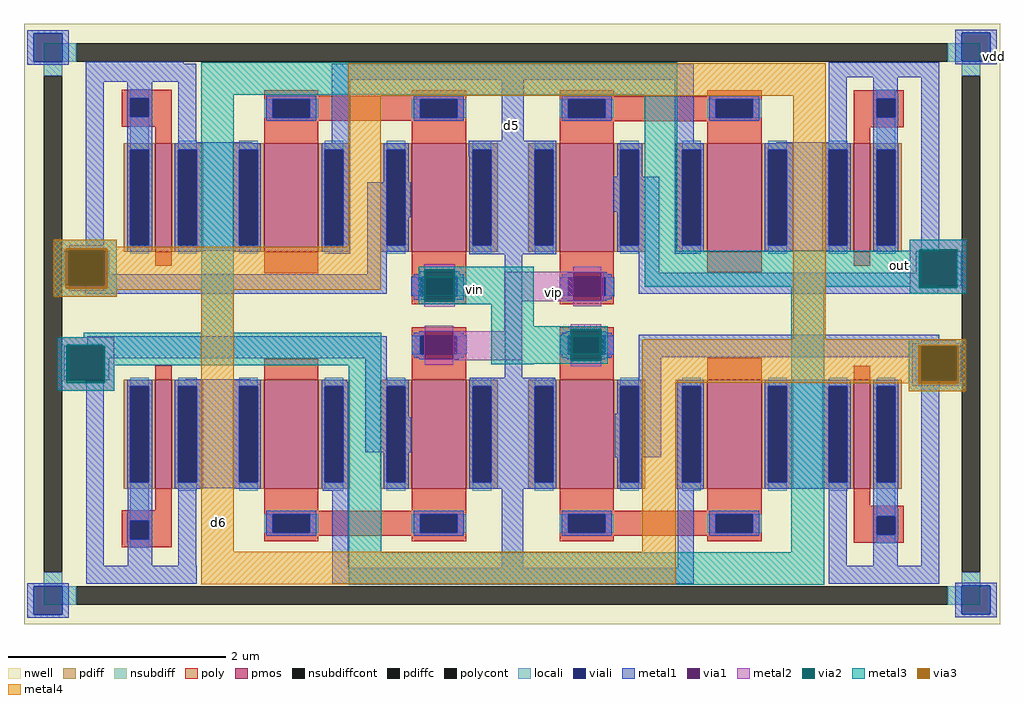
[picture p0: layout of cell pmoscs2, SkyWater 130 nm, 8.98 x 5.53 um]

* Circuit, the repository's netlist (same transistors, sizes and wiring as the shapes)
* NGSPICE file created from pmoscs2.ext - technology: sky130A

.subckt pmoscs2 vdd vip vin d5 d6 out
X0 d5 vin d6 vdd sky130_fd_pr__pfet_01v8 ad=0.29 pd=2.58 as=0.29 ps=2.58 w=1 l=0.5
X1 out out out vdd sky130_fd_pr__pfet_01v8 ad=0.29 pd=2.58 as=0 ps=0 w=1 l=0.15
X2 out out out vdd sky130_fd_pr__pfet_01v8 ad=0.29 pd=2.58 as=0 ps=0 w=1 l=0.15
X3 d6 d6 d6 vdd sky130_fd_pr__pfet_01v8 ad=0.29 pd=2.58 as=0 ps=0 w=1 l=0.15
X4 d5 vip out vdd sky130_fd_pr__pfet_01v8 ad=0.29 pd=2.58 as=0.29 ps=2.58 w=1 l=0.5
X5 d5 vip out vdd sky130_fd_pr__pfet_01v8 ad=0.29 pd=2.58 as=0.29 ps=2.58 w=1 l=0.5
X6 d6 d6 d6 vdd sky130_fd_pr__pfet_01v8 ad=0.29 pd=2.58 as=0 ps=0 w=1 l=0.15
X7 d6 vin d5 vdd sky130_fd_pr__pfet_01v8 ad=0.29 pd=2.58 as=0.29 ps=2.58 w=1 l=0.5
X8 d6 vin d5 vdd sky130_fd_pr__pfet_01v8 ad=0.29 pd=2.58 as=0.29 ps=2.58 w=1 l=0.5
X9 out vip d5 vdd sky130_fd_pr__pfet_01v8 ad=0.29 pd=2.58 as=0.29 ps=2.58 w=1 l=0.5
X10 out vip d5 vdd sky130_fd_pr__pfet_01v8 ad=0.29 pd=2.58 as=0.29 ps=2.58 w=1 l=0.5
X11 d5 vin d6 vdd sky130_fd_pr__pfet_01v8 ad=0.29 pd=2.58 as=0.29 ps=2.58 w=1 l=0.5
.ends

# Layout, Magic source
magic
tech sky130A
magscale 1 2
<< nwell >>
rect 2785 535 4582 1641
<< pmos >>
rect 3027 1221 3057 1421
rect 3227 1221 3327 1421
rect 3499 1221 3599 1421
rect 3771 1221 3871 1421
rect 4043 1221 4143 1421
rect 4313 1221 4343 1421
rect 3027 785 3057 985
rect 3227 785 3327 985
rect 3499 785 3599 985
rect 3771 785 3871 985
rect 4043 785 4143 985
rect 4313 785 4343 985
<< pdiff >>
rect 2969 1409 3027 1421
rect 2969 1233 2981 1409
rect 3015 1233 3027 1409
rect 2969 1221 3027 1233
rect 3057 1409 3115 1421
rect 3057 1233 3069 1409
rect 3103 1233 3115 1409
rect 3057 1221 3115 1233
rect 3169 1409 3227 1421
rect 3169 1233 3181 1409
rect 3215 1233 3227 1409
rect 3169 1221 3227 1233
rect 3327 1409 3385 1421
rect 3327 1233 3339 1409
rect 3373 1233 3385 1409
rect 3327 1221 3385 1233
rect 3441 1409 3499 1421
rect 3441 1233 3453 1409
rect 3487 1233 3499 1409
rect 3441 1221 3499 1233
rect 3599 1409 3657 1421
rect 3599 1233 3611 1409
rect 3645 1233 3657 1409
rect 3599 1221 3657 1233
rect 3713 1409 3771 1421
rect 3713 1233 3725 1409
rect 3759 1233 3771 1409
rect 3713 1221 3771 1233
rect 3871 1409 3929 1421
rect 3871 1233 3883 1409
rect 3917 1233 3929 1409
rect 3871 1221 3929 1233
rect 3985 1409 4043 1421
rect 3985 1233 3997 1409
rect 4031 1233 4043 1409
rect 3985 1221 4043 1233
rect 4143 1409 4201 1421
rect 4143 1233 4155 1409
rect 4189 1233 4201 1409
rect 4143 1221 4201 1233
rect 4255 1409 4313 1421
rect 4255 1233 4267 1409
rect 4301 1233 4313 1409
rect 4255 1221 4313 1233
rect 4343 1409 4401 1421
rect 4343 1233 4355 1409
rect 4389 1233 4401 1409
rect 4343 1221 4401 1233
rect 2969 973 3027 985
rect 2969 797 2981 973
rect 3015 797 3027 973
rect 2969 785 3027 797
rect 3057 973 3115 985
rect 3057 797 3069 973
rect 3103 797 3115 973
rect 3057 785 3115 797
rect 3169 973 3227 985
rect 3169 797 3181 973
rect 3215 797 3227 973
rect 3169 785 3227 797
rect 3327 973 3385 985
rect 3327 797 3339 973
rect 3373 797 3385 973
rect 3327 785 3385 797
rect 3441 973 3499 985
rect 3441 797 3453 973
rect 3487 797 3499 973
rect 3441 785 3499 797
rect 3599 973 3657 985
rect 3599 797 3611 973
rect 3645 797 3657 973
rect 3599 785 3657 797
rect 3713 973 3771 985
rect 3713 797 3725 973
rect 3759 797 3771 973
rect 3713 785 3771 797
rect 3871 973 3929 985
rect 3871 797 3883 973
rect 3917 797 3929 973
rect 3871 785 3929 797
rect 3985 973 4043 985
rect 3985 797 3997 973
rect 4031 797 4043 973
rect 3985 785 4043 797
rect 4143 973 4201 985
rect 4143 797 4155 973
rect 4189 797 4201 973
rect 4143 785 4201 797
rect 4255 973 4313 985
rect 4255 797 4267 973
rect 4301 797 4313 973
rect 4255 785 4313 797
rect 4343 973 4401 985
rect 4343 797 4355 973
rect 4389 797 4401 973
rect 4343 785 4401 797
<< pdiffc >>
rect 2981 1233 3015 1409
rect 3069 1233 3103 1409
rect 3181 1233 3215 1409
rect 3339 1233 3373 1409
rect 3453 1233 3487 1409
rect 3611 1233 3645 1409
rect 3725 1233 3759 1409
rect 3883 1233 3917 1409
rect 3997 1233 4031 1409
rect 4155 1233 4189 1409
rect 4267 1233 4301 1409
rect 4355 1233 4389 1409
rect 2981 797 3015 973
rect 3069 797 3103 973
rect 3181 797 3215 973
rect 3339 797 3373 973
rect 3453 797 3487 973
rect 3611 797 3645 973
rect 3725 797 3759 973
rect 3883 797 3917 973
rect 3997 797 4031 973
rect 4155 797 4189 973
rect 4267 797 4301 973
rect 4355 797 4389 973
<< nsubdiff >>
rect 2821 1571 2881 1605
rect 4486 1571 4546 1605
rect 2821 1545 2855 1571
rect 4512 1545 4546 1571
rect 2821 605 2855 631
rect 4512 605 4546 631
rect 2821 571 2881 605
rect 4486 571 4546 605
<< nsubdiffcont >>
rect 2881 1571 4486 1605
rect 2821 631 2855 1545
rect 4512 631 4546 1545
rect 2881 571 4486 605
<< poly >>
rect 2965 1504 3057 1519
rect 2965 1470 2981 1504
rect 3015 1470 3057 1504
rect 2965 1451 3057 1470
rect 3027 1421 3057 1451
rect 3227 1508 3327 1518
rect 3499 1508 3599 1518
rect 3227 1502 3599 1508
rect 3227 1468 3243 1502
rect 3311 1468 3515 1502
rect 3583 1468 3599 1502
rect 3227 1462 3599 1468
rect 3227 1421 3327 1462
rect 3499 1421 3599 1462
rect 3771 1507 3871 1518
rect 4043 1507 4143 1518
rect 3771 1502 4143 1507
rect 3771 1468 3787 1502
rect 3855 1468 4059 1502
rect 4127 1468 4143 1502
rect 3771 1461 4143 1468
rect 3771 1421 3871 1461
rect 4043 1421 4143 1461
rect 4313 1503 4405 1518
rect 4313 1469 4355 1503
rect 4389 1469 4405 1503
rect 4313 1450 4405 1469
rect 4313 1421 4343 1450
rect 3027 1195 3057 1221
rect 3227 1181 3327 1221
rect 3499 1174 3599 1221
rect 3499 1140 3515 1174
rect 3583 1140 3599 1174
rect 3499 1124 3599 1140
rect 3771 1174 3871 1221
rect 4043 1183 4143 1221
rect 4313 1195 4343 1221
rect 3771 1140 3787 1174
rect 3855 1140 3871 1174
rect 3771 1124 3871 1140
rect 3499 1066 3599 1082
rect 3499 1032 3515 1066
rect 3583 1032 3599 1066
rect 3027 985 3057 1011
rect 3227 985 3327 1024
rect 3499 985 3599 1032
rect 3771 1066 3871 1082
rect 3771 1032 3787 1066
rect 3855 1032 3871 1066
rect 3771 985 3871 1032
rect 4043 985 4143 1026
rect 4313 985 4343 1011
rect 3027 745 3057 785
rect 2965 726 3057 745
rect 2965 692 2981 726
rect 3015 692 3057 726
rect 2965 677 3057 692
rect 3227 744 3327 785
rect 3499 744 3599 785
rect 3227 738 3599 744
rect 3227 704 3243 738
rect 3311 704 3515 738
rect 3583 704 3599 738
rect 3227 698 3599 704
rect 3227 688 3327 698
rect 3499 688 3599 698
rect 3771 744 3871 785
rect 4043 744 4143 785
rect 3771 738 4143 744
rect 3771 704 3787 738
rect 3855 704 4059 738
rect 4127 704 4143 738
rect 3771 698 4143 704
rect 3771 688 3871 698
rect 4043 688 4143 698
rect 4313 753 4343 785
rect 4313 734 4405 753
rect 4313 700 4355 734
rect 4389 700 4405 734
rect 4313 685 4405 700
<< polycont >>
rect 2981 1470 3015 1504
rect 3243 1468 3311 1502
rect 3515 1468 3583 1502
rect 3787 1468 3855 1502
rect 4059 1468 4127 1502
rect 4355 1469 4389 1503
rect 3515 1140 3583 1174
rect 3787 1140 3855 1174
rect 3515 1032 3583 1066
rect 3787 1032 3855 1066
rect 2981 692 3015 726
rect 3243 704 3311 738
rect 3515 704 3583 738
rect 3787 704 3855 738
rect 4059 704 4127 738
rect 4355 700 4389 734
<< locali >>
rect 2855 1571 2881 1605
rect 4486 1572 4512 1605
rect 4486 1571 4546 1572
rect 2821 1545 2855 1571
rect 4512 1545 4546 1571
rect 2981 1504 3015 1520
rect 4355 1503 4389 1519
rect 2981 1409 3015 1470
rect 3227 1468 3243 1502
rect 3311 1468 3327 1502
rect 3499 1468 3515 1502
rect 3583 1468 3599 1502
rect 3771 1468 3787 1502
rect 3855 1468 3871 1502
rect 4043 1468 4059 1502
rect 4127 1468 4143 1502
rect 2981 1217 3015 1233
rect 3069 1409 3103 1425
rect 3069 1217 3103 1233
rect 3181 1409 3215 1425
rect 3181 1217 3215 1233
rect 3339 1409 3373 1425
rect 3339 1217 3373 1233
rect 3453 1409 3487 1425
rect 3453 1217 3487 1233
rect 3611 1409 3645 1425
rect 3611 1217 3645 1233
rect 3725 1409 3759 1425
rect 3725 1217 3759 1233
rect 3883 1409 3917 1425
rect 3883 1217 3917 1233
rect 3997 1409 4031 1425
rect 3997 1217 4031 1233
rect 4155 1409 4189 1425
rect 4155 1217 4189 1233
rect 4267 1409 4301 1425
rect 4267 1217 4301 1233
rect 4355 1409 4389 1469
rect 4355 1217 4389 1233
rect 3499 1140 3515 1174
rect 3583 1140 3599 1174
rect 3771 1140 3787 1174
rect 3855 1140 3871 1174
rect 3499 1032 3515 1066
rect 3583 1032 3599 1066
rect 3771 1032 3787 1066
rect 3855 1032 3871 1066
rect 2981 973 3015 989
rect 2981 726 3015 797
rect 3069 973 3103 989
rect 3069 781 3103 797
rect 3181 973 3215 989
rect 3181 781 3215 797
rect 3339 973 3373 989
rect 3339 781 3373 797
rect 3453 973 3487 989
rect 3453 781 3487 797
rect 3611 973 3645 989
rect 3611 781 3645 797
rect 3725 973 3759 989
rect 3725 781 3759 797
rect 3883 973 3917 989
rect 3883 781 3917 797
rect 3997 973 4031 989
rect 3997 781 4031 797
rect 4155 973 4189 989
rect 4155 781 4189 797
rect 4267 973 4301 989
rect 4267 781 4301 797
rect 4355 973 4389 989
rect 3227 704 3243 738
rect 3311 704 3327 738
rect 3499 704 3515 738
rect 3583 704 3599 738
rect 3771 704 3787 738
rect 3855 704 3871 738
rect 4043 704 4059 738
rect 4127 704 4143 738
rect 4355 734 4389 797
rect 2981 676 3015 692
rect 4355 684 4389 700
rect 2821 605 2855 631
rect 4512 606 4546 631
rect 2855 571 2881 605
rect 4486 571 4512 605
<< viali >>
rect 2803 1571 2855 1623
rect 4512 1572 4564 1624
rect 2981 1470 3015 1504
rect 3243 1468 3311 1502
rect 3515 1468 3583 1502
rect 3787 1468 3855 1502
rect 4059 1468 4127 1502
rect 4355 1469 4389 1503
rect 2981 1233 3015 1409
rect 3069 1233 3103 1409
rect 3181 1233 3215 1409
rect 3339 1233 3373 1409
rect 3453 1233 3487 1409
rect 3611 1233 3645 1409
rect 3725 1233 3759 1409
rect 3883 1233 3917 1409
rect 3997 1233 4031 1409
rect 4155 1233 4189 1409
rect 4267 1233 4301 1409
rect 4355 1233 4389 1409
rect 3515 1140 3583 1174
rect 3787 1140 3855 1174
rect 3515 1139 3583 1140
rect 3515 1032 3583 1066
rect 3787 1032 3855 1066
rect 2981 797 3015 973
rect 3069 797 3103 973
rect 3181 797 3215 973
rect 3339 797 3373 973
rect 3453 797 3487 973
rect 3611 797 3645 973
rect 3725 797 3759 973
rect 3883 797 3917 973
rect 3997 797 4031 973
rect 4155 797 4189 973
rect 4267 797 4301 973
rect 4355 797 4389 973
rect 2981 692 3015 726
rect 3243 704 3311 738
rect 3515 704 3583 738
rect 3787 704 3855 738
rect 4059 704 4127 738
rect 4355 700 4389 734
rect 2803 553 2855 605
rect 4512 554 4564 606
<< metal1 >>
rect 2791 1623 2867 1629
rect 2791 1571 2803 1623
rect 2855 1571 2867 1623
rect 4500 1624 4576 1630
rect 4500 1572 4512 1624
rect 4564 1572 4576 1624
rect 2791 1565 2867 1571
rect 2899 1567 3079 1571
rect 2899 1534 3102 1567
rect 2899 1223 2932 1534
rect 2975 1504 3021 1534
rect 2975 1470 2981 1504
rect 3015 1470 3021 1504
rect 2975 1409 3021 1470
rect 3069 1423 3102 1534
rect 3352 1538 4018 1567
rect 3231 1502 3323 1508
rect 3231 1468 3243 1502
rect 3311 1468 3323 1502
rect 3231 1462 3323 1468
rect 3069 1421 3205 1423
rect 3352 1421 3386 1538
rect 3503 1502 3595 1508
rect 3503 1468 3515 1502
rect 3583 1468 3595 1502
rect 3503 1462 3595 1468
rect 3665 1425 3705 1538
rect 3775 1502 3867 1508
rect 3775 1468 3787 1502
rect 3855 1468 3867 1502
rect 3775 1462 3867 1468
rect 2975 1233 2981 1409
rect 3015 1233 3021 1409
rect 2858 1159 2868 1223
rect 2932 1180 2942 1223
rect 2975 1221 3021 1233
rect 3063 1409 3221 1421
rect 3063 1233 3069 1409
rect 3103 1233 3181 1409
rect 3215 1233 3221 1409
rect 3063 1223 3221 1233
rect 3063 1221 3109 1223
rect 3175 1221 3221 1223
rect 3333 1409 3386 1421
rect 3333 1233 3339 1409
rect 3373 1233 3386 1409
rect 3447 1409 3493 1421
rect 3447 1349 3453 1409
rect 3333 1221 3386 1233
rect 3346 1217 3386 1221
rect 3417 1233 3453 1349
rect 3487 1349 3493 1409
rect 3604 1409 3765 1425
rect 3983 1422 4018 1538
rect 4267 1542 4470 1570
rect 4500 1566 4576 1572
rect 4047 1502 4139 1508
rect 4047 1468 4059 1502
rect 4127 1468 4139 1502
rect 4047 1462 4139 1468
rect 4267 1423 4300 1542
rect 3983 1421 4023 1422
rect 4170 1421 4300 1423
rect 4349 1512 4394 1542
rect 4349 1503 4395 1512
rect 4349 1469 4355 1503
rect 4389 1469 4395 1503
rect 4349 1454 4395 1469
rect 4349 1421 4394 1454
rect 3604 1397 3611 1409
rect 3487 1285 3497 1349
rect 3487 1233 3493 1285
rect 3417 1221 3493 1233
rect 3605 1233 3611 1397
rect 3645 1233 3725 1409
rect 3759 1233 3765 1409
rect 3877 1409 3923 1421
rect 3877 1359 3883 1409
rect 3870 1295 3883 1359
rect 3417 1180 3453 1221
rect 3605 1216 3765 1233
rect 3877 1233 3883 1295
rect 3917 1359 3923 1409
rect 3983 1409 4037 1421
rect 3917 1233 3955 1359
rect 3877 1221 3955 1233
rect 3514 1180 3524 1185
rect 2932 1159 3453 1180
rect 3503 1175 3524 1180
rect 2898 1144 3453 1159
rect 3498 1174 3524 1175
rect 3576 1180 3586 1185
rect 3576 1174 3595 1180
rect 3498 1140 3515 1174
rect 3503 1139 3515 1140
rect 3583 1139 3595 1174
rect 3503 1133 3524 1139
rect 3576 1133 3595 1139
rect 3513 1072 3523 1075
rect 3503 1067 3523 1072
rect 3499 1066 3523 1067
rect 3575 1072 3585 1075
rect 3575 1067 3595 1072
rect 3575 1066 3600 1067
rect 2901 1048 3453 1065
rect 2858 984 2868 1048
rect 2932 1025 3453 1048
rect 3499 1032 3515 1066
rect 3583 1032 3600 1066
rect 3503 1026 3523 1032
rect 2932 984 2942 1025
rect 3083 985 3202 986
rect 3413 985 3453 1025
rect 3513 1023 3523 1026
rect 3575 1026 3595 1032
rect 3575 1023 3585 1026
rect 3670 989 3702 1216
rect 3786 1180 3796 1183
rect 3775 1174 3796 1180
rect 3848 1180 3858 1183
rect 3917 1182 3955 1221
rect 3983 1233 3997 1409
rect 4031 1233 4037 1409
rect 3983 1221 4037 1233
rect 4149 1409 4307 1421
rect 4149 1233 4155 1409
rect 4189 1233 4267 1409
rect 4301 1233 4307 1409
rect 4149 1223 4307 1233
rect 4149 1221 4195 1223
rect 4261 1221 4307 1223
rect 4349 1409 4395 1421
rect 4349 1233 4355 1409
rect 4389 1233 4395 1409
rect 4349 1221 4395 1233
rect 4437 1222 4470 1542
rect 3983 1217 4023 1221
rect 4427 1182 4437 1222
rect 3848 1174 3867 1180
rect 3771 1140 3787 1174
rect 3855 1140 3872 1174
rect 3917 1158 4437 1182
rect 4501 1158 4511 1222
rect 3917 1144 4468 1158
rect 3771 1139 3796 1140
rect 3775 1134 3796 1139
rect 3786 1131 3796 1134
rect 3848 1139 3872 1140
rect 3848 1134 3867 1139
rect 3848 1131 3858 1134
rect 3784 1072 3794 1075
rect 3775 1067 3794 1072
rect 3771 1066 3794 1067
rect 3846 1072 3856 1075
rect 3846 1067 3867 1072
rect 3846 1066 3871 1067
rect 3771 1032 3787 1066
rect 3855 1032 3871 1066
rect 3775 1026 3794 1032
rect 3784 1023 3794 1026
rect 3846 1031 3871 1032
rect 3917 1048 4470 1068
rect 3846 1026 3867 1031
rect 3917 1027 4437 1048
rect 3846 1023 3856 1026
rect 3606 985 3763 989
rect 3917 985 3958 1027
rect 2900 643 2932 984
rect 2975 973 3021 985
rect 2975 797 2981 973
rect 3015 797 3021 973
rect 2975 785 3021 797
rect 3063 973 3221 985
rect 3063 797 3069 973
rect 3103 797 3181 973
rect 3215 797 3221 973
rect 3063 786 3221 797
rect 3063 785 3109 786
rect 3175 785 3221 786
rect 3333 982 3379 985
rect 3333 973 3382 982
rect 3333 797 3339 973
rect 3373 797 3382 973
rect 3413 973 3493 985
rect 3413 852 3453 973
rect 3333 785 3382 797
rect 3447 797 3453 852
rect 3487 916 3493 973
rect 3605 973 3765 985
rect 3487 852 3498 916
rect 3487 797 3493 852
rect 3447 785 3493 797
rect 3605 797 3611 973
rect 3645 797 3725 973
rect 3759 797 3765 973
rect 3877 973 3958 985
rect 3877 923 3883 973
rect 3873 843 3883 923
rect 3605 785 3765 797
rect 3877 797 3883 843
rect 3917 843 3958 973
rect 3988 973 4037 985
rect 3917 797 3923 843
rect 3877 785 3923 797
rect 3988 797 3997 973
rect 4031 797 4037 973
rect 3988 785 4037 797
rect 4149 973 4307 985
rect 4149 797 4155 973
rect 4189 797 4267 973
rect 4301 797 4307 973
rect 4149 785 4307 797
rect 4349 973 4395 985
rect 4427 984 4437 1027
rect 4501 984 4511 1048
rect 4349 797 4355 973
rect 4389 797 4395 973
rect 4349 785 4395 797
rect 2976 741 3021 785
rect 2975 726 3021 741
rect 2975 692 2981 726
rect 3015 692 3021 726
rect 2975 683 3021 692
rect 2976 643 3021 683
rect 3069 643 3102 785
rect 3335 781 3382 785
rect 3231 738 3323 744
rect 3231 704 3243 738
rect 3311 704 3323 738
rect 3231 698 3323 704
rect 2791 605 2867 611
rect 2900 610 3103 643
rect 3353 639 3382 781
rect 3503 738 3595 744
rect 3503 704 3515 738
rect 3583 704 3595 738
rect 3503 698 3595 704
rect 3665 639 3704 785
rect 3988 784 4035 785
rect 3775 738 3867 744
rect 3775 704 3787 738
rect 3855 704 3867 738
rect 3775 698 3867 704
rect 3989 639 4018 784
rect 4047 738 4139 744
rect 4047 704 4059 738
rect 4127 704 4139 738
rect 4047 698 4139 704
rect 3353 610 4018 639
rect 4267 643 4300 785
rect 4349 749 4394 785
rect 4349 734 4395 749
rect 4349 700 4355 734
rect 4389 700 4395 734
rect 4349 691 4395 700
rect 4349 643 4394 691
rect 4437 643 4470 984
rect 4267 610 4470 643
rect 2791 553 2803 605
rect 2855 553 2867 605
rect 2791 547 2867 553
rect 4500 606 4576 612
rect 4500 554 4512 606
rect 4564 554 4576 606
rect 4500 548 4576 554
<< via1 >>
rect 2868 1159 2932 1223
rect 3524 1174 3576 1185
rect 3524 1139 3576 1174
rect 3524 1133 3576 1139
rect 3523 1066 3575 1075
rect 2868 984 2932 1048
rect 3523 1032 3575 1066
rect 3523 1023 3575 1032
rect 3796 1174 3848 1183
rect 3796 1140 3848 1174
rect 4437 1158 4501 1222
rect 3796 1131 3848 1140
rect 3794 1066 3846 1075
rect 3794 1032 3846 1066
rect 3794 1023 3846 1032
rect 4437 984 4501 1048
<< metal2 >>
rect 2868 1223 2932 1233
rect 4416 1225 4521 1243
rect 2868 1149 2932 1159
rect 3522 1188 3578 1198
rect 3796 1184 3848 1193
rect 3522 1120 3578 1130
rect 3669 1183 3852 1184
rect 3669 1131 3796 1183
rect 3848 1131 3852 1183
rect 4416 1155 4433 1225
rect 4503 1155 4521 1225
rect 4416 1144 4521 1155
rect 3669 1130 3852 1131
rect 3523 1075 3575 1085
rect 3669 1075 3702 1130
rect 3796 1121 3848 1130
rect 2846 1050 2951 1064
rect 2846 980 2864 1050
rect 2929 1048 2951 1050
rect 2932 1047 2951 1048
rect 2934 980 2951 1047
rect 3522 1023 3523 1075
rect 3575 1023 3702 1075
rect 3522 1021 3702 1023
rect 3792 1078 3848 1088
rect 4437 1053 4501 1058
rect 3523 1013 3575 1021
rect 3792 1010 3848 1020
rect 4420 1048 4510 1053
rect 2846 965 2951 980
rect 4420 984 4437 1048
rect 4501 984 4510 1048
rect 4420 974 4510 984
<< via2 >>
rect 2868 1159 2932 1223
rect 3522 1185 3578 1188
rect 3522 1133 3524 1185
rect 3524 1133 3576 1185
rect 3576 1133 3578 1185
rect 3522 1130 3578 1133
rect 4433 1222 4503 1225
rect 4433 1158 4437 1222
rect 4437 1158 4501 1222
rect 4501 1158 4503 1222
rect 4433 1155 4503 1158
rect 2864 1048 2929 1050
rect 2864 984 2868 1048
rect 2868 1047 2929 1048
rect 2868 984 2932 1047
rect 2932 984 2934 1047
rect 2864 980 2934 984
rect 3792 1075 3848 1078
rect 3792 1023 3794 1075
rect 3794 1023 3846 1075
rect 3846 1023 3848 1075
rect 3792 1020 3848 1023
rect 4437 984 4501 1048
<< metal3 >>
rect 3111 1510 3988 1570
rect 2840 1227 2956 1243
rect 2840 1154 2862 1227
rect 2938 1154 2956 1227
rect 2840 1138 2956 1154
rect 3111 1072 3171 1510
rect 3928 1223 3988 1510
rect 4416 1225 4521 1243
rect 4416 1223 4433 1225
rect 3512 1188 3724 1193
rect 3512 1130 3522 1188
rect 3578 1130 3724 1188
rect 3928 1157 4433 1223
rect 3512 1124 3724 1130
rect 3645 1084 3724 1124
rect 3645 1078 3860 1084
rect 2895 1064 3443 1072
rect 2846 1050 3443 1064
rect 2846 980 2864 1050
rect 2929 1047 3443 1050
rect 2934 1012 3443 1047
rect 3645 1020 3792 1078
rect 3848 1020 3860 1078
rect 3645 1015 3860 1020
rect 3645 1014 3724 1015
rect 2934 980 2951 1012
rect 2846 965 2951 980
rect 3383 668 3443 1012
rect 4198 668 4258 1157
rect 4416 1155 4433 1157
rect 4503 1155 4521 1225
rect 4416 1144 4521 1155
rect 4414 1049 4519 1060
rect 4414 978 4432 1049
rect 4505 978 4519 1049
rect 4414 964 4519 978
rect 3383 608 4258 668
<< via3 >>
rect 2862 1223 2938 1227
rect 2862 1159 2868 1223
rect 2868 1159 2932 1223
rect 2932 1159 2938 1223
rect 2862 1154 2938 1159
rect 4432 1048 4505 1049
rect 4432 984 4437 1048
rect 4437 984 4501 1048
rect 4501 984 4505 1048
rect 4432 978 4505 984
<< metal4 >>
rect 3382 1508 4261 1568
rect 2840 1230 2956 1243
rect 3382 1230 3442 1508
rect 2840 1227 3442 1230
rect 2840 1154 2862 1227
rect 2938 1154 3442 1227
rect 2840 1151 3442 1154
rect 2840 1138 2956 1151
rect 3111 669 3171 1151
rect 4201 1060 4261 1508
rect 3927 1059 4519 1060
rect 3923 1049 4519 1059
rect 3923 980 4432 1049
rect 3923 669 3985 980
rect 4260 979 4432 980
rect 4414 978 4432 979
rect 4505 978 4519 1049
rect 4414 964 4519 978
rect 3111 609 3985 669
<< labels >>
flabel metal1 4572 1581 4572 1581 0 FreeSans 800 0 0 0 vdd
port 0 nsew
flabel metal2 3760 1146 3760 1146 0 FreeSans 800 0 0 0 vip
port 1 nsew
flabel metal3 3614 1152 3614 1152 0 FreeSans 800 0 0 0 vin
port 2 nsew
flabel metal1 3683 1453 3683 1453 0 FreeSans 800 0 0 0 d5
port 3 nsew
flabel metal4 3144 722 3144 722 0 FreeSans 800 0 0 0 d6
port 4 nsew
flabel metal3 4397 1195 4397 1195 0 FreeSans 800 0 0 0 out
port 5 nsew
<< end >>
